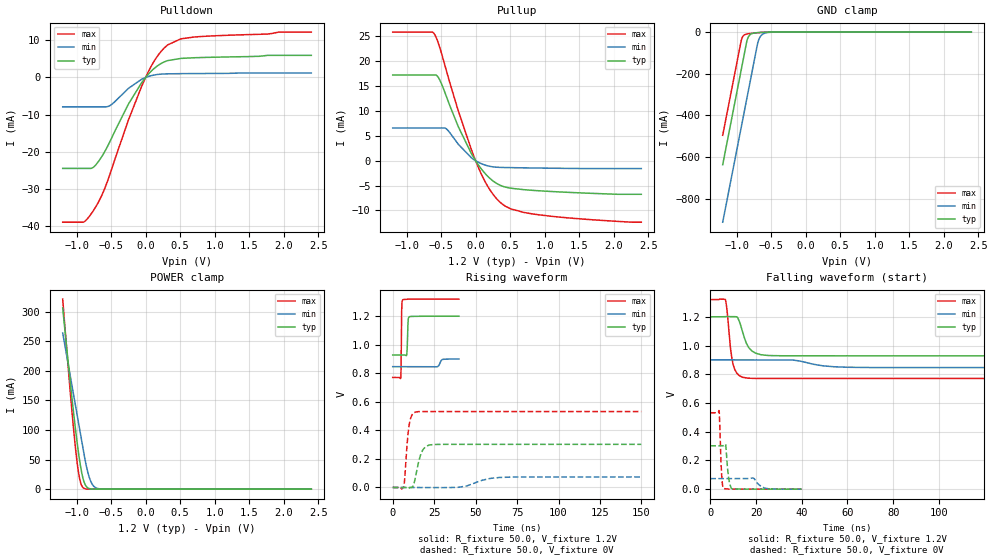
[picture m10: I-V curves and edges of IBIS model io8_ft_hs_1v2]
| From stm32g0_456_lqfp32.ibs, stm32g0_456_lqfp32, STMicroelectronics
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[Model]   io8_ft_hs_1v2
Model_type I/O
Polarity   Non-Inverting
Enable   Active-Low
| CAP_THRESHOLD on pad IOFT is "UDTCAPC" :
| Rising=30.00f vddiom   Falling=70.00f vddiom
| C_comp min and max val. don't necessarily correlate with the min and max pvt
| but are the smallest and greatest pad capacitance found.
| var   typ   min   max
C_comp   1.83456pF  1.76049pF  1.83488pF
|C_comp_pullup   1.06370pF  1.01770pF  1.04720pF
|C_comp_pulldown   770.86000fF  742.79001fF  787.68000fF
Vinl = 270.0mV
Vinh = 924.0mV
Vmeas = 600.0mV   | Reference voltage for timing measurements
Cref  = 50.0pF   | Timing specification test load capacitance value
Rref  = 100.0MOhm   | Timing specification test load resistance value
Vref  = 600.0mV   | Timing specification test load voltage
[Model Spec]
| TIME_THRESHOLD on pin ZIV12 is "CMOS" :
| Rising=50.00f vdd   Falling=50.00f vdd
Vinl 458.70000mV 364.70000mV 499.70000mV
Vinh 728.30000mV 548.30000mV 792.30000mV
| variable   typ   min   max
[Temperature Range] 25.0 140.0 -40.0
| variable   typ   min   max
[Voltage Range] 1.2V 900.0mV 1.32V
| variable   typ   min   max
[POWER Clamp Reference] 1.2V 900.0mV 1.32V
| variable   typ   min   max
[GND Clamp Reference] 0V 0V 0V
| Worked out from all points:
|   slope of the pulldown table from 0 to 0.18 V, typ, clamps not added: 55.6 ohm
|   slope of the pullup table from 0 to 0.18 V, typ, clamps not added: 56.3 ohm
|   GND clamp passes 1 mA (typ) near -0.61 V on its own axis
|   POWER clamp passes 1 mA (typ) near -0.81 V on its own axis
|   rising waveform, R_fixture 50.0, V_fixture 1.2V: 20-80 % time 429ps typ, 1.3ns min, 278ps max; typ from 0.928 V to 1.2 V
|   falling waveform, R_fixture 50.0, V_fixture 1.2V: 20-80 % time 3.78ns typ, 10.4ns min, 2.27ns max; typ from 1.2 V to 0.928 V
|   rising waveform, R_fixture 50.0, V_fixture 0V: 20-80 % time 3.76ns typ, 11.5ns min, 2.21ns max; typ from 0 V to 0.302 V
|   falling waveform, R_fixture 50.0, V_fixture 0V: 20-80 % time 1.15ns typ, 2.99ns min, 786ps max; typ from 0.302 V to 0 V
[POWER Clamp]
-1.2V     306.2mA    263.9mA    321.2mA
-1.09V    180mA      191mA      163.4mA
-1.05V    136.9mA    164.5mA    110.9mA
-1.01V    96.55mA    138mA      64.02mA
-960mV    52.29mA    104.9mA    20.68mA
-930mV    31.08mA    85.01mA    7.282mA
-900mV    15.67mA    65.13mA    2.025mA
-850mV    3.417mA    35.2mA     196.2uA
-800mV    570.2uA    14.97mA    18.13uA
-750mV    88.98uA    4.952mA    1.667uA
-680mV    6.495uA    823.9uA    58.96nA
2.4V      0A         0A         0A
[GND Clamp]
-1.2V     -636.9mA   -913.2mA   -495.8mA
-940mV    -194.9mA   -471.2mA   -53.78mA
-920mV    -160.9mA   -437.2mA   -28.06mA
-890mV    -109.9mA   -386.2mA   -14.28mA
-850mV    -43.09mA   -318.2mA   -9.18mA
-820mV    -18.33mA   -267.2mA   -7.516mA
-780mV    -7.695mA   -199.2mA   -5.87mA
-690mV    -2.548mA   -49.42mA   -2.9mA
-660mV    -1.868mA   -24.06mA   -2.112mA
-630mV    -1.326mA   -12.18mA   -1.447mA
-430mV    -19.32uA   -177.8uA   -8.091uA
2.4V      300pA      77.2nA     208.1pA
| variable   typ   min   max
[Pullup Reference] 1.2V 900.0mV 1.32V
| variable   typ   min   max
[Pulldown Reference] 0V 0V 0V
[Pullup]
-1.2V     17.25mA    6.594mA    25.88mA
-630mV    17.25mA    6.594mA    25.88mA
-600mV    17.25mA    6.594mA    25.56mA
-530mV    16.54mA    6.594mA    23.27mA
-420mV    12.82mA    6.361mA    17.99mA
-250mV    6.833mA    3.302mA    10.02mA
10mV      -217.3uA   -81.33uA   -351.4uA
200mV     -3.465mA   -1.119mA   -5.704mA
390mV     -5.137mA   -1.365mA   -8.762mA
510mV     -5.544mA   -1.401mA   -9.708mA
900mV     -6.043mA   -1.482mA   -10.87mA
2.4V      -6.768mA   -1.593mA   -12.38mA
[Pulldown]
-1.2V     -24.47mA   -7.9mA     -38.94mA
-890mV    -24.47mA   -7.9mA     -38.83mA
-720mV    -23.49mA   -7.9mA     -34.76mA
-610mV    -20.54mA   -7.9mA     -30.69mA
-510mV    -17.01mA   -7.49mA    -25.69mA
-250mV    -7.205mA   -2.955mA   -11.53mA
0V        0A         0A         -16fA
160mV     2.97mA     779.9uA    5.417mA
320mV     4.547mA    983.4uA    8.763mA
510mV     5.135mA    1.031mA    10.4mA
700mV     5.311mA    1.057mA    10.88mA
2.4V      5.965mA    1.209mA    12.22mA
[Ramp]
dV/dt_r 181.26962mV/3.75639ns 44.0861mV/11.48015ns 319.21038mV/2.19825ns
dV/dt_f 162.92582mV/3.78181ns 32.17029mV/10.39666ns 329.57189mV/2.27164ns
R_load = 50.0
| Removed startup time: 0s 0s 0s  .
| Removed end time: 39.9ns.
[Rising Waveform]
R_fixture   = 50.0
V_fixture   = 1.2V
V_fixture_min = 900.0mV
V_fixture_max = 1.32V
0s        928.4mV    846.3mV    770.7mV
4.8ns     928.5mV    846.4mV    764.7mV
5.1ns     928.5mV    846.4mV    885.1mV
5.4ns     928.5mV    846.4mV    1.238V
6ns       928.5mV    846.4mV    1.314V
8.4ns     927mV      846.4mV    1.319V
8.7ns     966.5mV    846.4mV    1.319V
9.3ns     1.17V      846.4mV    1.319V
10ns      1.196V     846.4mV    1.32V
39.9ns    1.2V       899.7mV    1.32V
| Removed startup time: 0s 0s 0s  .
| Removed end time: 149.9ns.
[Falling Waveform]
R_fixture   = 50.0
V_fixture   = 1.2V
V_fixture_min = 900.0mV
V_fixture_max = 1.32V
0s        1.2V       900mV      1.32V
6.7ns     1.201V     900mV      1.316V
8.9ns     1.202V     900mV      972.3mV
9.9ns     1.202V     900mV      874.1mV
11.9ns    1.196V     900mV      802.7mV
14.2ns    1.091V     900mV      778.6mV
18ns      964.8mV    899.9mV    771.7mV
25.5ns    930.4mV    900.4mV    770.7mV
59.8ns    928.5mV    848.8mV    770.7mV
149.9ns   928.5mV    846.4mV    770.7mV
| Removed startup time: 0s 0s 0s  .
| Removed end time: 149.9ns.
[Rising Waveform]
R_fixture   = 50.0
V_fixture   = 0V
V_fixture_min = 0V
V_fixture_max = 0V
0s        -21.52uV   -19.2uV    -16.69uV
6.6ns     92.12nV    212.2nV    3.073mV
7.2ns     29.66uV    184.2nV    52.81mV
9.7ns     -4.874mV   167.6nV    423.4mV
12.1ns    5.843mV    200.8nV    515.7mV
13.9ns    83.49mV    113.1nV    529.1mV
16.9ns    232.8mV    -27.83nV   531.8mV
22ns      297.2mV    2.952uV    532mV
64.7ns    302.1mV    70.19mV    532mV
149.9ns   302.1mV    73.48mV    532mV
| Removed startup time: 0s 0s 0s  .
| Removed end time: 39.9ns.
[Falling Waveform]
R_fixture   = 50.0
V_fixture   = 0V
V_fixture_min = 0V
V_fixture_max = 0V
0s        302.1mV    73.47mV    532mV
3.9ns     302.1mV    73.46mV    542.4mV
4.8ns     302mV      73.46mV    149.8mV
5.3ns     301.8mV    73.46mV    34.07mV
5.7ns     301.4mV    73.46mV    5.584mV
6.7ns     311.1mV    73.46mV    2.56mV
7.8ns     107.8mV    73.46mV    976.5uV
9.2ns     5.754mV    73.46mV    394.7uV
26ns      4.46uV     1.169mV    -6.739uV
39.9ns    -2.54uV    150.5uV    -6.345uV
